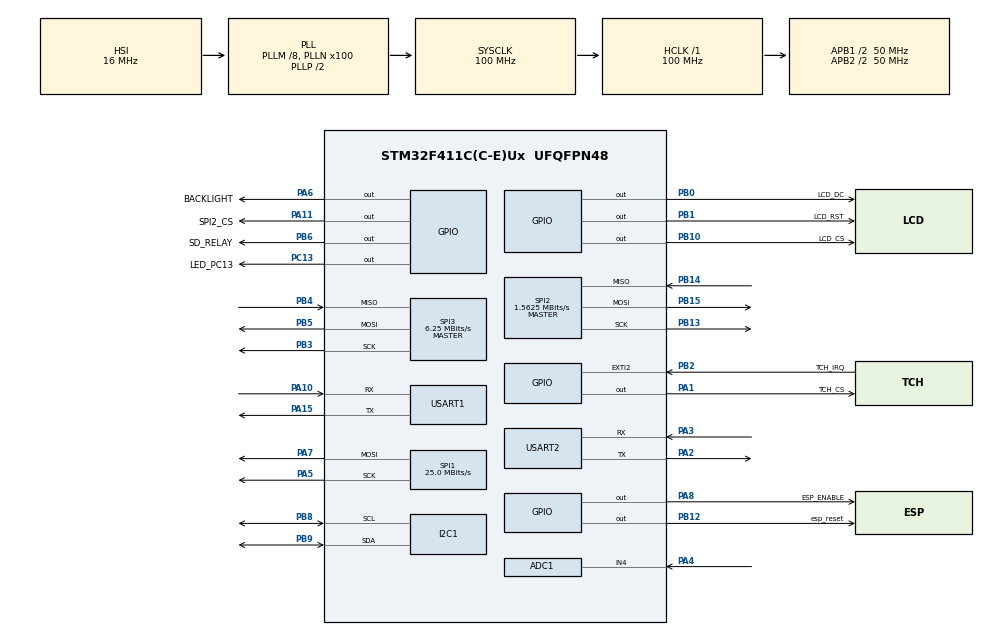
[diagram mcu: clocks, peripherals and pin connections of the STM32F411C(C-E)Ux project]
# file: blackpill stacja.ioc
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ADC1.Channel-3\#ChannelRegularConversion=ADC_CHANNEL_4
ADC1.ClockPrescaler=ADC_CLOCK_SYNC_PCLK_DIV2
ADC1.InjNumberOfConversion=0
ADC1.NbrOfConversion=1
ADC1.NbrOfConversionFlag=1
ADC1.Rank-3\#ChannelRegularConversion=1
ADC1.Resolution=ADC_RESOLUTION_12B
ADC1.SamplingTime-3\#ChannelRegularConversion=ADC_SAMPLETIME_15CYCLES
ADC1.ScanConvMode=DISABLE
ADC1.master=1
Dma.I2C1_RX.4.Direction=DMA_PERIPH_TO_MEMORY
Dma.I2C1_RX.4.FIFOMode=DMA_FIFOMODE_DISABLE
Dma.I2C1_RX.4.Instance=DMA1_Stream0
Dma.I2C1_RX.4.MemDataAlignment=DMA_MDATAALIGN_BYTE
Dma.I2C1_RX.4.MemInc=DMA_MINC_ENABLE
Dma.I2C1_RX.4.Mode=DMA_NORMAL
Dma.I2C1_RX.4.PeriphDataAlignment=DMA_PDATAALIGN_BYTE
Dma.I2C1_RX.4.PeriphInc=DMA_PINC_DISABLE
Dma.I2C1_RX.4.Priority=DMA_PRIORITY_HIGH
Dma.I2C1_TX.5.Direction=DMA_MEMORY_TO_PERIPH
Dma.I2C1_TX.5.FIFOMode=DMA_FIFOMODE_DISABLE
Dma.I2C1_TX.5.Instance=DMA1_Stream1
Dma.I2C1_TX.5.MemDataAlignment=DMA_MDATAALIGN_BYTE
Dma.I2C1_TX.5.MemInc=DMA_MINC_ENABLE
Dma.I2C1_TX.5.Mode=DMA_NORMAL
Dma.I2C1_TX.5.PeriphDataAlignment=DMA_PDATAALIGN_BYTE
Dma.I2C1_TX.5.PeriphInc=DMA_PINC_DISABLE
Dma.I2C1_TX.5.Priority=DMA_PRIORITY_HIGH
Dma.Request0=USART2_TX
Dma.Request1=USART1_RX
Dma.Request2=USART1_TX
Dma.Request3=SPI1_TX
Dma.Request4=I2C1_RX
Dma.Request5=I2C1_TX
Dma.SPI1_TX.3.Direction=DMA_MEMORY_TO_PERIPH
Dma.SPI1_TX.3.FIFOMode=DMA_FIFOMODE_DISABLE
Dma.SPI1_TX.3.Instance=DMA2_Stream3
Dma.SPI1_TX.3.MemDataAlignment=DMA_MDATAALIGN_BYTE
Dma.SPI1_TX.3.MemInc=DMA_MINC_ENABLE
Dma.SPI1_TX.3.Mode=DMA_NORMAL
Dma.SPI1_TX.3.PeriphDataAlignment=DMA_PDATAALIGN_BYTE
Dma.SPI1_TX.3.PeriphInc=DMA_PINC_DISABLE
Dma.SPI1_TX.3.Priority=DMA_PRIORITY_MEDIUM
Dma.USART1_RX.1.Direction=DMA_PERIPH_TO_MEMORY
Dma.USART1_RX.1.FIFOMode=DMA_FIFOMODE_DISABLE
Dma.USART1_RX.1.Instance=DMA2_Stream2
Dma.USART1_RX.1.MemDataAlignment=DMA_MDATAALIGN_BYTE
Dma.USART1_RX.1.MemInc=DMA_MINC_ENABLE
Dma.USART1_RX.1.Mode=DMA_CIRCULAR
Dma.USART1_RX.1.PeriphDataAlignment=DMA_PDATAALIGN_BYTE
Dma.USART1_RX.1.PeriphInc=DMA_PINC_DISABLE
Dma.USART1_RX.1.Priority=DMA_PRIORITY_VERY_HIGH
Dma.USART1_TX.2.Direction=DMA_MEMORY_TO_PERIPH
Dma.USART1_TX.2.FIFOMode=DMA_FIFOMODE_DISABLE
Dma.USART1_TX.2.Instance=DMA2_Stream7
Dma.USART1_TX.2.MemDataAlignment=DMA_MDATAALIGN_BYTE
Dma.USART1_TX.2.MemInc=DMA_MINC_ENABLE
Dma.USART1_TX.2.Mode=DMA_NORMAL
Dma.USART1_TX.2.PeriphDataAlignment=DMA_PDATAALIGN_BYTE
Dma.USART1_TX.2.PeriphInc=DMA_PINC_DISABLE
Dma.USART1_TX.2.Priority=DMA_PRIORITY_HIGH
Dma.USART2_TX.0.Direction=DMA_MEMORY_TO_PERIPH
Dma.USART2_TX.0.FIFOMode=DMA_FIFOMODE_DISABLE
Dma.USART2_TX.0.Instance=DMA1_Stream6
Dma.USART2_TX.0.MemDataAlignment=DMA_MDATAALIGN_BYTE
Dma.USART2_TX.0.MemInc=DMA_MINC_ENABLE
Dma.USART2_TX.0.Mode=DMA_NORMAL
Dma.USART2_TX.0.PeriphDataAlignment=DMA_PDATAALIGN_BYTE
Dma.USART2_TX.0.PeriphInc=DMA_PINC_DISABLE
Dma.USART2_TX.0.Priority=DMA_PRIORITY_LOW
FATFS._MAX_SS=4096
FATFS._USE_LFN=1
Mcu.Family=STM32F4
Mcu.Name=STM32F411C(C-E)Ux
Mcu.Package=UFQFPN48
NVIC.DMA1_Stream0_IRQn=true\:0\:0\:false\:false\:true\:false\:true\:true
NVIC.DMA1_Stream1_IRQn=true\:0\:0\:false\:false\:true\:false\:true\:true
NVIC.DMA1_Stream6_IRQn=true\:0\:0\:false\:false\:true\:false\:true\:true
NVIC.DMA2_Stream2_IRQn=true\:0\:0\:false\:false\:true\:false\:true\:true
NVIC.DMA2_Stream3_IRQn=true\:0\:0\:false\:false\:true\:false\:true\:true
NVIC.DMA2_Stream7_IRQn=true\:0\:0\:false\:false\:true\:false\:true\:true
NVIC.EXTI2_IRQn=true\:0\:0\:false\:false\:true\:true\:true\:true
NVIC.I2C1_ER_IRQn=true\:0\:0\:false\:false\:true\:true\:true\:true
NVIC.I2C1_EV_IRQn=true\:0\:0\:false\:false\:true\:true\:true\:true
NVIC.PriorityGroup=NVIC_PRIORITYGROUP_2
NVIC.RTC_Alarm_IRQn=true\:0\:0\:false\:false\:true\:true\:true\:true
NVIC.TIM1_BRK_TIM9_IRQn=true\:0\:0\:false\:false\:true\:true\:true\:true
NVIC.TIM1_TRG_COM_TIM11_IRQn=true\:0\:0\:false\:false\:true\:true\:true\:true
NVIC.TIM1_UP_TIM10_IRQn=true\:0\:0\:false\:false\:true\:true\:true\:true
NVIC.TIM5_IRQn=true\:0\:0\:false\:false\:true\:true\:true\:true
NVIC.USART1_IRQn=true\:0\:0\:false\:false\:true\:true\:true\:true
NVIC.USART2_IRQn=true\:0\:0\:false\:false\:true\:true\:true\:true
PA0-WKUP.Mode=SYS_WakeUp0
PA0-WKUP.Signal=SYS_WKUP
PA1.GPIO_Label=TCH_CS
PA1.Signal=GPIO_Output
PA10.Mode=Asynchronous
PA10.Signal=USART1_RX
PA11.GPIO_Label=SPI2_CS
PA11.GPIO_PuPd=GPIO_NOPULL
PA11.Signal=GPIO_Output
PA15.Mode=Asynchronous
PA15.Signal=USART1_TX
PA2.Mode=Asynchronous
PA2.Signal=USART2_TX
PA3.Mode=Asynchronous
PA3.Signal=USART2_RX
PA4.Signal=ADCx_IN4
PA5.Mode=TX_Only_Simplex_Unidirect_Master
PA5.Signal=SPI1_SCK
PA6.GPIO_Label=BACKLIGHT
PA6.Signal=GPIO_Output
PA7.Mode=TX_Only_Simplex_Unidirect_Master
PA7.Signal=SPI1_MOSI
PA8.GPIO_Label=ESP_ENABLE
PA8.GPIO_PuPd=GPIO_PULLDOWN
PA8.PinState=GPIO_PIN_RESET
PA8.Signal=GPIO_Output
PB0.GPIO_Label=LCD_DC
PB0.Signal=GPIO_Output
PB1.GPIO_Label=LCD_RST
PB1.Signal=GPIO_Output
PB10.GPIO_Label=LCD_CS
PB10.Signal=GPIO_Output
PB12.GPIO_Label=esp_reset
PB12.GPIO_PuPd=GPIO_PULLDOWN
PB12.PinState=GPIO_PIN_RESET
PB12.Signal=GPIO_Output
PB13.Mode=Full_Duplex_Master
PB13.Signal=SPI2_SCK
PB14.Mode=Full_Duplex_Master
PB14.Signal=SPI2_MISO
PB15.Mode=Full_Duplex_Master
PB15.Signal=SPI2_MOSI
PB2.GPIO_Label=TCH_IRQ
PB2.GPIO_ModeDefaultEXTI=GPIO_MODE_IT_FALLING
PB2.GPIO_PuPd=GPIO_PULLUP
PB2.Signal=GPXTI2
PB3.Mode=Full_Duplex_Master
PB3.Signal=SPI3_SCK
PB4.Mode=Full_Duplex_Master
PB4.Signal=SPI3_MISO
PB5.Mode=Full_Duplex_Master
PB5.Signal=SPI3_MOSI
PB6.GPIO_Label=SD_RELAY
PB6.Signal=GPIO_Output
PB8.Mode=I2C
PB8.Signal=I2C1_SCL
PB9.Mode=I2C
PB9.Signal=I2C1_SDA
PC13-ANTI_TAMP.GPIO_Label=LED_PC13
PC13-ANTI_TAMP.Signal=GPIO_Output
PC14-OSC32_IN.Mode=LSE-External-Oscillator
PC14-OSC32_IN.Signal=RCC_OSC32_IN
PC15-OSC32_OUT.Mode=LSE-External-Oscillator
PC15-OSC32_OUT.Signal=RCC_OSC32_OUT
ProjectManager.HeapSize=0x400
ProjectManager.StackSize=0x800
ProjectManager.TargetToolchain=STM32CubeIDE
RCC.48MHZClocksFreq_Value=50000000
RCC.AHBFreq_Value=100000000
RCC.APB1CLKDivider=RCC_HCLK_DIV2
RCC.APB1Freq_Value=50000000
RCC.APB1TimFreq_Value=100000000
RCC.APB2CLKDivider=RCC_HCLK_DIV2
RCC.APB2Freq_Value=50000000
RCC.APB2TimFreq_Value=100000000
RCC.CortexFreq_Value=100000000
RCC.HCLKFreq_Value=100000000
RCC.HSE_VALUE=25000000
RCC.HSI_VALUE=16000000
RCC.PLLM=8
RCC.PLLN=100
RCC.RCC_RTC_Clock_SourceVirtual=RCC_RTCCLKSOURCE_LSE
RCC.SYSCLKFreq_VALUE=100000000
RCC.SYSCLKSource=RCC_SYSCLKSOURCE_PLLCLK
RCC.VCOOutputFreq_Value=200000000
RTC.Alarm=RTC_ALARM_A
SH.ADCx_IN4.0=ADC1_IN4,IN4
SPI1.BaudRatePrescaler=SPI_BAUDRATEPRESCALER_2
SPI1.CalculateBaudRate=25.0 MBits/s
SPI1.Direction=SPI_DIRECTION_2LINES
SPI1.Mode=SPI_MODE_MASTER
SPI1.VirtualType=VM_MASTER
SPI2.BaudRatePrescaler=SPI_BAUDRATEPRESCALER_32
SPI2.CalculateBaudRate=1.5625 MBits/s
SPI2.Direction=SPI_DIRECTION_2LINES
SPI2.Mode=SPI_MODE_MASTER
SPI2.VirtualType=VM_MASTER
SPI3.BaudRatePrescaler=SPI_BAUDRATEPRESCALER_8
SPI3.CalculateBaudRate=6.25 MBits/s
SPI3.Direction=SPI_DIRECTION_2LINES
SPI3.Mode=SPI_MODE_MASTER
SPI3.VirtualType=VM_MASTER
TIM1.Period=60000
TIM1.Prescaler=49999
TIM10.Period=8000
TIM10.Prescaler=49999
TIM11.Period=30000
TIM11.Prescaler=49999
TIM3.Prescaler=99
TIM4.Prescaler=49999
TIM5.Period=10000
TIM5.Prescaler=49999
TIM9.Period=20000
TIM9.Prescaler=4999
USART1.VirtualMode=VM_ASYNC
USART2.VirtualMode=VM_ASYNC
VP_FATFS_VS_Generic.Mode=User_defined
VP_RTC_VS_RTC_Activate.Mode=RTC_Enabled
VP_RTC_VS_RTC_Alarm_A_Intern.Mode=Alarm A
VP_RTC_VS_RTC_Calendar.Mode=RTC_Calendar
VP_TIM10_VS_ClockSourceINT.Mode=Enable_Timer
VP_TIM11_VS_ClockSourceINT.Mode=Enable_Timer
VP_TIM1_VS_ClockSourceINT.Mode=Internal
VP_TIM3_VS_ClockSourceINT.Mode=Internal
VP_TIM4_VS_ClockSourceINT.Mode=Internal
VP_TIM5_VS_ClockSourceINT.Mode=Internal
VP_TIM9_VS_ClockSourceINT.Mode=Internal
board=custom

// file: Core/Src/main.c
/* USER CODE BEGIN Header */
/**
  ******************************************************************************
  * @file           : main.c
  * @brief          : Main program body
  ******************************************************************************
  * @attention
  *
  * Copyright (c) 2023 STMicroelectronics.
  * All rights reserved.
  *
  * This software is licensed under terms that can be found in the LICENSE file
  * in the root directory of this software component.
  * If no LICENSE file comes with this software, it is provided AS-IS.
  *
  *****************************************************************************
  */
/* USER CODE END Header */
#include "main.h"
#include "fatfs.h"

/* USER CODE BEGIN Includes */
#include <ui.h>
#include "fr_lcd.h"
#include "../../lvgl/lvgl.h"
#include "../../lvgl/examples/lv_examples.h"
#include "stdio.h"
#include "stdint.h"
#include "fr_touch.h"
#include "fr_lv_drv_touch.h"
#include "fr_dht22.h"
#include "fr_lcd_lvgl_touch.h"
#include "fr_sd_handle.h"
#include <stdlib.h>
#include <ctype.h>
#include <fr_battery.h>
#include <fr_eeprom.h>
#include <fr_ESP8266.h>
#include <fr_ESP8266_messages.h>
#include <fatfs_sd.h>
#include "fr_scd40.h"
#include "fr_stm32.h"
/* USER CODE END Includes */

ADC_HandleTypeDef hadc1;

I2C_HandleTypeDef hi2c1;
DMA_HandleTypeDef hdma_i2c1_rx;
DMA_HandleTypeDef hdma_i2c1_tx;

RTC_HandleTypeDef hrtc;

SPI_HandleTypeDef hspi1;
SPI_HandleTypeDef hspi2;
SPI_HandleTypeDef hspi3;
DMA_HandleTypeDef hdma_spi1_tx;

TIM_HandleTypeDef htim1;
TIM_HandleTypeDef htim3;
TIM_HandleTypeDef htim4;
TIM_HandleTypeDef htim5;
TIM_HandleTypeDef htim9;
TIM_HandleTypeDef htim10;
TIM_HandleTypeDef htim11;

UART_HandleTypeDef huart1;
UART_HandleTypeDef huart2;
DMA_HandleTypeDef hdma_usart1_rx;
DMA_HandleTypeDef hdma_usart1_tx;
DMA_HandleTypeDef hdma_usart2_tx;

void SystemClock_Config(void);
static void MX_GPIO_Init(void);
static void MX_DMA_Init(void);
static void MX_ADC1_Init(void);
static void MX_I2C1_Init(void);
static void MX_RTC_Init(void);
static void MX_SPI1_Init(void);
static void MX_SPI3_Init(void);
static void MX_TIM1_Init(void);
static void MX_TIM3_Init(void);
static void MX_TIM4_Init(void);
static void MX_TIM5_Init(void);
static void MX_TIM9_Init(void);
static void MX_TIM10_Init(void);
static void MX_TIM11_Init(void);
static void MX_USART1_UART_Init(void);
static void MX_USART2_UART_Init(void);
static void MX_SPI2_Init(void);

int main(void)
{

  /* MCU Configuration--------------------------------------------------------*/

  /* Reset of all peripherals, Initializes the Flash interface and the Systick. */
  HAL_Init();

  /* Configure the system clock */
  SystemClock_Config();

  /* Initialize all configured peripherals */
  MX_GPIO_Init();
  MX_DMA_Init();
  MX_ADC1_Init();
  MX_I2C1_Init();
  MX_RTC_Init();
  MX_SPI1_Init();
  MX_SPI3_Init();
  MX_TIM1_Init();
  MX_TIM3_Init();
  MX_TIM4_Init();
  MX_TIM5_Init();
  MX_TIM9_Init();
  MX_TIM10_Init();
  MX_TIM11_Init();
  MX_USART1_UART_Init();
  MX_USART2_UART_Init();
  MX_FATFS_Init();
  MX_SPI2_Init();
  /* USER CODE BEGIN 2 */

  // ask for sensor data and wait for interrupt

  SCD40_writecommand();
  /* turn on led indication for work status */
  HAL_GPIO_WritePin(LED_PC13_GPIO_Port, LED_PC13_Pin, GPIO_PIN_RESET);

  /* turn on power for SD card reader*/
  HAL_GPIO_WritePin(SD_RELAY_GPIO_Port, SD_RELAY_Pin, GPIO_PIN_SET);

  /* check what waked up device */

  if ((backlight)&&(init_lv==0)){
	/* in case wake up from touch screen initialize lvgl,
	 * display and turn on lvgl driver */
	HAL_GPIO_WritePin(TCH_CS_GPIO_Port, TCH_CS_Pin, GPIO_PIN_SET);
	init_lvgl();
	lv_task_handler();
	touch_handle(&hspi3);

	/* enable tim1 timer for screen backlight turn off delay if wakedup from alarm */
	__HAL_TIM_CLEAR_FLAG(&htim1, TIM_SR_UIF);
	HAL_TIM_Base_Start_IT(&htim1);

  }

  /* in case wakeup by sensor timer initialize lvgl, and display */
  else{
	init_lvgl();
  }

  if(!PomiarFlag){

	/* tim4 timer ESP messages delay */
	HAL_TIM_Base_Start(&htim4);

	/* reset esp8266 module by output pin */
	esp_server_init();

	/* start receiving data from esp8266 by USART1 circular DMA with line
	 * switch to idle interrupt, disable half transfer interrupt */
	__HAL_DMA_DISABLE_IT(&hdma_usart1_rx, DMA_IT_HT);
	HAL_UARTEx_ReceiveToIdle_DMA(&huart1, (uint8_t *) RxBuf, RxBuf_SIZE);

  }

  /* tim1 timer screen backlight */
  /* tim3 timer for us delay */

  /* tim9 timer for textbox color change */
  /* tim10 timer for msg delay */        ///do usunięcia
  /* tim11 timer for loading screen delay */

  //HAL_TIM_Base_Start(&htim3); //timer in case DHT22 usage;

  /* enable debugging in standby mode */
  HAL_DBGMCU_EnableDBGStandbyMode();

  /* initialize measurement structures */
  measure_init();

  /* USER CODE END 2 */

  /* Infinite loop */
  /* USER CODE BEGIN WHILE */
  while (1)
  {
	/* ESP8266 communication handle */
	if(PomiarFlag==0){
		switch(tryb_wifi){
		case HOTSPOT:
			load_hotspot();
		break;
		case ROUTER_MODE:
			load_msg();
		break;
		case RESET_TO_WIFI_CHANGE:
			wifi_reset();
		break;
		case WIFI_CHANGE:
			change_wifi();
		break;
		case RESET_MODE_TO_HOTSPOT:
			wifi_reset();
		break;
		case RESET_MODE_TO_ROUTER:
			wifi_reset();
		break;
		}
		send_msg();
	}

	/* check if circural buffor is not full and transfer data from to USART2 */
	if((USART2->SR & USART_SR_TC) && (ogon!=glowa)&&(ogon<1000)){
	  transfer_bufor();
	}

	/* update clock and calendar data for ui */
	get_time();

	/* update time left to sensor measure*/
	get_alarm();

	/* update ui data */
	if(init_lv){
		if(!wifi_set){
			update_ui_data();
			lv_task_handler();
			touch_handle(&hspi3);
		}
		/* in wi-fi change mode for loading screen and freeze UI */
		else{
			sprintf(wifi_change_bar_label, "%3d\%", wifi_change_bar);
		    lv_bar_set_value(ui_Bar11, wifi_change_bar, LV_ANIM_OFF);
		    lv_label_set_text(ui_Label62, wifi_change_bar_label);
			lv_task_handler();
			touch_handle(&hspi3);
		}
	}

	/* check condition and turn on stanby mode */
	if((backlight==0)&&(PomiarFlag==1)){
		if(check_alarm()){
			sleep(120);
		}
	}

	/* in case wifi change, stop communication with sensor and check for available WLAN networks */
	if((wifi_list_send==1)&&(PomiarFlag==1)){
		wifi_list_send=0;
		esp_server_init();
		__HAL_DMA_DISABLE_IT(&hdma_usart1_rx, DMA_IT_HT);
		HAL_UARTEx_ReceiveToIdle_DMA(&huart1, (uint8_t*) RxBuf, RxBuf_SIZE);
		HAL_UART_Transmit_DMA(&huart1, (uint8_t*) "AT+CWLAP\r\n",strlen("AT+CWLAP\r\n"));
	}

	/* turn on communication with ESP caused by sensor measure alarm */
	if(AlarmFlag){
		esp_server_init();
		HAL_TIM_Base_Start(&htim4); //timer for ESP communication messages delays
		AlarmFlag=0;
		PomiarFlag=0;
		__HAL_DMA_DISABLE_IT(&hdma_usart1_rx, DMA_IT_HT);
		HAL_UARTEx_ReceiveToIdle_DMA(&huart1, (uint8_t*) RxBuf, RxBuf_SIZE);
	}

	/* in case wi-fi search change for loading screen for certain time */
	if(screen_change==1){
		_ui_screen_change(ui_Screen3, LV_SCR_LOAD_ANIM_FADE_ON, 0, 0);
		screen_change=3;
	}
	else if(screen_change==2){
		_ui_screen_change(ui_Screen6, LV_SCR_LOAD_ANIM_FADE_ON, 0, 0);
		screen_change=3;
	}

    /* USER CODE END WHILE */

  }
}

void SystemClock_Config(void)
{
  RCC_OscInitTypeDef RCC_OscInitStruct = {0};
  RCC_ClkInitTypeDef RCC_ClkInitStruct = {0};

  /** Configure the main internal regulator output voltage
  */
  __HAL_RCC_PWR_CLK_ENABLE();
  __HAL_PWR_VOLTAGESCALING_CONFIG(PWR_REGULATOR_VOLTAGE_SCALE1);

  /** Initializes the RCC Oscillators according to the specified parameters
  * in the RCC_OscInitTypeDef structure.
  */
  RCC_OscInitStruct.OscillatorType = RCC_OSCILLATORTYPE_HSI|RCC_OSCILLATORTYPE_LSE;
  RCC_OscInitStruct.LSEState = RCC_LSE_ON;
  RCC_OscInitStruct.HSIState = RCC_HSI_ON;
  RCC_OscInitStruct.HSICalibrationValue = RCC_HSICALIBRATION_DEFAULT;
  RCC_OscInitStruct.PLL.PLLState = RCC_PLL_ON;
  RCC_OscInitStruct.PLL.PLLSource = RCC_PLLSOURCE_HSI;
  RCC_OscInitStruct.PLL.PLLM = 8;
  RCC_OscInitStruct.PLL.PLLN = 100;
  RCC_OscInitStruct.PLL.PLLP = RCC_PLLP_DIV2;
  RCC_OscInitStruct.PLL.PLLQ = 4;
  if (HAL_RCC_OscConfig(&RCC_OscInitStruct) != HAL_OK)
  {
    Error_Handler();
  }

  /** Initializes the CPU, AHB and APB buses clocks
  */
  RCC_ClkInitStruct.ClockType = RCC_CLOCKTYPE_HCLK|RCC_CLOCKTYPE_SYSCLK
                              |RCC_CLOCKTYPE_PCLK1|RCC_CLOCKTYPE_PCLK2;
  RCC_ClkInitStruct.SYSCLKSource = RCC_SYSCLKSOURCE_PLLCLK;
  RCC_ClkInitStruct.AHBCLKDivider = RCC_SYSCLK_DIV1;
  RCC_ClkInitStruct.APB1CLKDivider = RCC_HCLK_DIV2;
  RCC_ClkInitStruct.APB2CLKDivider = RCC_HCLK_DIV2;

  if (HAL_RCC_ClockConfig(&RCC_ClkInitStruct, FLASH_LATENCY_3) != HAL_OK)
  {
    Error_Handler();
  }
}

static void MX_ADC1_Init(void)
{

  ADC_ChannelConfTypeDef sConfig = {0};

  /** Configure the global features of the ADC (Clock, Resolution, Data Alignment and number of conversion)
  */
  hadc1.Instance = ADC1;
  hadc1.Init.ClockPrescaler = ADC_CLOCK_SYNC_PCLK_DIV2;
  hadc1.Init.Resolution = ADC_RESOLUTION_12B;
  hadc1.Init.ScanConvMode = DISABLE;
  hadc1.Init.ContinuousConvMode = DISABLE;
  hadc1.Init.DiscontinuousConvMode = DISABLE;
  hadc1.Init.ExternalTrigConvEdge = ADC_EXTERNALTRIGCONVEDGE_NONE;
  hadc1.Init.ExternalTrigConv = ADC_SOFTWARE_START;
  hadc1.Init.DataAlign = ADC_DATAALIGN_RIGHT;
  hadc1.Init.NbrOfConversion = 1;
  hadc1.Init.DMAContinuousRequests = DISABLE;
  hadc1.Init.EOCSelection = ADC_EOC_SINGLE_CONV;
  if (HAL_ADC_Init(&hadc1) != HAL_OK)
  {
    Error_Handler();
  }

  /** Configure for the selected ADC regular channel its corresponding rank in the sequencer and its sample time.
  */
  sConfig.Channel = ADC_CHANNEL_4;
  sConfig.Rank = 1;
  sConfig.SamplingTime = ADC_SAMPLETIME_15CYCLES;
  if (HAL_ADC_ConfigChannel(&hadc1, &sConfig) != HAL_OK)
  {
    Error_Handler();
  }

}

static void MX_I2C1_Init(void)
{

  hi2c1.Instance = I2C1;
  hi2c1.Init.ClockSpeed = 100000;
  hi2c1.Init.DutyCycle = I2C_DUTYCYCLE_2;
  hi2c1.Init.OwnAddress1 = 0;
  hi2c1.Init.AddressingMode = I2C_ADDRESSINGMODE_7BIT;
  hi2c1.Init.DualAddressMode = I2C_DUALADDRESS_DISABLE;
  hi2c1.Init.OwnAddress2 = 0;
  hi2c1.Init.GeneralCallMode = I2C_GENERALCALL_DISABLE;
  hi2c1.Init.NoStretchMode = I2C_NOSTRETCH_DISABLE;
  if (HAL_I2C_Init(&hi2c1) != HAL_OK)
  {
    Error_Handler();
  }

}

static void MX_RTC_Init(void)
{

  /* USER CODE BEGIN RTC_Init 0 */
	//__HAL_RCC_PWR_CLK_ENABLE();
  /* USER CODE END RTC_Init 0 */

  RTC_TimeTypeDef sTime = {0};
  RTC_DateTypeDef sDate = {0};
  RTC_AlarmTypeDef sAlarm = {0};

  /** Initialize RTC Only
  */
  hrtc.Instance = RTC;
  hrtc.Init.HourFormat = RTC_HOURFORMAT_24;
  hrtc.Init.AsynchPrediv = 127;
  hrtc.Init.SynchPrediv = 255;
  hrtc.Init.OutPut = RTC_OUTPUT_DISABLE;
  hrtc.Init.OutPutPolarity = RTC_OUTPUT_POLARITY_HIGH;
  hrtc.Init.OutPutType = RTC_OUTPUT_TYPE_OPENDRAIN;
  if (HAL_RTC_Init(&hrtc) != HAL_OK)
  {
    Error_Handler();
  }

  /* USER CODE BEGIN Check_RTC_BKUP */
  // Check if device was woken up from Standby
  if(__HAL_PWR_GET_FLAG(PWR_FLAG_SB) != RESET) {
    // Check if wake up was caused by timer
    if(__HAL_RTC_WAKEUPTIMER_GET_FLAG(&hrtc, RTC_FLAG_WUTF)) {
      // Send "WUTF=1" through UART2 if flag is set
      HAL_UART_Transmit(&huart2, (uint8_t*) "WUTF=1\r\n", strlen("WUTF=1\r\n"), 500);
    } else {
      // Send "WUTF=0" through UART2 if flag is not set
      HAL_UART_Transmit(&huart2, (uint8_t*) "WUTF=0\r\n", strlen("WUTF=0\r\n"), 500);
    }

    // Check if wake up flag of the power interface is set
    if(__HAL_PWR_GET_FLAG(PWR_FLAG_WU)) {
      // Send "WUF=1" through UART2 if flag is set
      HAL_UART_Transmit(&huart2, (uint8_t*) "WUF=1\r\n", strlen("WUF=1\r\n"), 500);
    } else {
      // Send "WUF=0" through UART2 if flag is not set
      HAL_UART_Transmit(&huart2, (uint8_t*) "WUF=0\r\n", strlen("WUF=0\r\n"), 500);
    }

    // Check if wake up was caused by alarm
    if(__HAL_RTC_ALARM_GET_FLAG(&hrtc, RTC_FLAG_ALRAF)) {
      // Send "ALRAF=1" through UART2 if flag is set
      HAL_UART_Transmit(&huart2, (uint8_t*) "ALRAF=1\r\n", strlen("ALRAF=1\r\n"), 500);
      /* If wake up was caused by measurement alarm turn
        on measurement flag and don't turn of backlight */
      PomiarFlag = 0;
      backlight = 0;
    } else {
      /* If wake up was not from alarm then it was from touching the screen,
        turn on backlight and don't turn on measurement */
      // Send "ALRAF=0" through UART2
      HAL_UART_Transmit(&huart2, (uint8_t*) "ALRAF=0\r\n", strlen("ALRAF=0\r\n"), 500);
      // Turn on the backlight
      HAL_GPIO_WritePin(BACKLIGHT_GPIO_Port, BACKLIGHT_Pin, 1);
      // Set measurement flag and backlight
      PomiarFlag = 1;
      backlight = 1;
      // Enable alarm interrupt and set related configurations
      __HAL_RTC_WRITEPROTECTION_DISABLE(&hrtc);
      __HAL_RTC_ALARM_EXTI_ENABLE_IT();
      __HAL_RTC_ALARM_EXTI_ENABLE_RISING_EDGE();
      __HAL_RTC_ALARM_ENABLE_IT(&hrtc, RTC_IT_ALRA);
      __HAL_RTC_WRITEPROTECTION_ENABLE(&hrtc);
    }

    // Clear StandBy flag of the power interface
    __HAL_PWR_CLEAR_FLAG(PWR_FLAG_SB);

    // Read from backup data register (RTC_BKP_DR0)
    uint32_t dataco2_dust = HAL_RTCEx_BKUPRead(&hrtc, RTC_BKP_DR0);

    // Split the read data into CO2 and Dust values
    co2_raw = dataco2_dust >> 16;  // upper 16 bits for CO2
    dust = dataco2_dust & 0x7FFF;           // lower 15 bits for dust

    // Convert data to strings
    sprintf(str_CO2, "%4u", co2_raw);
    sprintf(sensor_data_table[Dust_OUT-2].data_label, "%3u", dust);

    // Read data from other registers
    uint32_t dataw = HAL_RTCEx_BKUPRead(&hrtc, RTC_BKP_DR1);
    uint32_t datat = HAL_RTCEx_BKUPRead(&hrtc, RTC_BKP_DR2);
    uint32_t datap = HAL_RTCEx_BKUPRead(&hrtc, RTC_BKP_DR3);
    uint32_t datawt = HAL_RTCEx_BKUPRead(&hrtc, RTC_BKP_DR18);

    // Split datawt into temperature and humidity
    measure_tab[Measure_IN].pomiar[Humi_IN].num = (uint8_t)(datawt >> 24);
    measure_tab[Measure_IN].pomiar[Humi_IN].tenths = (uint8_t)(datawt >> 16);
    measure_tab[Measure_IN].pomiar[Temp_IN].num = (uint8_t)(datawt >> 8);
    measure_tab[Measure_IN].pomiar[Temp_IN].tenths = (uint8_t)(datawt);

    // Read year, battery level and sensor battery level
    uint32_t batlvlrok = HAL_RTCEx_BKUPRead(&hrtc, RTC_BKP_DR19);
    uint32_t rok = batlvlrok & 0xFFFF; // lower 16 bits for year
    bat_lvl_pre = (batlvlrok >> 16) & 0xFF; // next 8 bits for battery level
    bat_lvl_int = bat_lvl_pre;
    sensor_data_table[3].pomiar = (batlvlrok >> 24) & 0xFF; // highest 8 bits for sensor battery level
    // Convert data to strings
    sprintf(bat_lvl_lb, "%3u", bat_lvl_pre);
    sprintf(sensor_data_table[3].data_label, "%3u", sensor_data_table[3].pomiar);
    sprintf(str_temp_in, "%2u.%1u", measure_tab[Measure_IN].pomiar[0].num, measure_tab[Measure_IN].pomiar[0].tenths);
    sprintf(str_hum_in, "%2u.%1u", measure_tab[Measure_IN].pomiar[1].num, measure_tab[Measure_IN].pomiar[1].tenths);

    // Read SSID and password for saved wifi
    read_ssid();

    // Loop to assign data labels for Humidity, Temperature, and Pressure
    for (int i = 0; i < 4; i++) {
        sensor_data_table[Humi_OUT - 3].data_label[i] = (dataw >> (24 - 8 * i)) & 0xFF;
        sensor_data_table[Temp_OUT - 3].data_label[i] = (datat >> (24 - 8 * i)) & 0xFF;
        sensor_data_table[Pres_OUT - 3].data_label[i] = (datap >> (24 - 8 * i)) & 0xFF;
    }
    }

  // If device was turn on, not woken up from StandBy then just on backlight
  else{

	HAL_GPIO_WritePin(BACKLIGHT_GPIO_Port, BACKLIGHT_Pin, 1);

	// read saved work mode and wi-fi credentials
	read_ssid();

	//__HAL_RTC_WRITEPROTECTION_DISABLE(&hrtc);
	//__HAL_RTC_ALARM_DISABLE_IT(&hrtc, RTC_IT_ALRA);
	//__HAL_RTC_WRITEPROTECTION_ENABLE(&hrtc);

	backlight=1;
  }

  return;
  /* USER CODE END Check_RTC_BKUP */

  /** Initialize RTC and set the Time and Date
  */
  sTime.Hours = 0x0;
  sTime.Minutes = 0x0;
  sTime.Seconds = 0x0;
  sTime.DayLightSaving = RTC_DAYLIGHTSAVING_NONE;
  sTime.StoreOperation = RTC_STOREOPERATION_RESET;
  if (HAL_RTC_SetTime(&hrtc, &sTime, RTC_FORMAT_BCD) != HAL_OK)
  {
    Error_Handler();
  }
  sDate.WeekDay = RTC_WEEKDAY_MONDAY;
  sDate.Month = RTC_MONTH_JANUARY;
  sDate.Date = 0x1;
  sDate.Year = 0x0;

  if (HAL_RTC_SetDate(&hrtc, &sDate, RTC_FORMAT_BCD) != HAL_OK)
  {
    Error_Handler();
  }

  /** Enable the Alarm A
  */
  sAlarm.AlarmTime.Hours = 0x0;
  sAlarm.AlarmTime.Minutes = 0x0;
  sAlarm.AlarmTime.Seconds = 0x0;
  sAlarm.AlarmTime.SubSeconds = 0x0;
  sAlarm.AlarmTime.DayLightSaving = RTC_DAYLIGHTSAVING_NONE;
  sAlarm.AlarmTime.StoreOperation = RTC_STOREOPERATION_RESET;
  sAlarm.AlarmMask = RTC_ALARMMASK_NONE;
  sAlarm.AlarmSubSecondMask = RTC_ALARMSUBSECONDMASK_ALL;
  sAlarm.AlarmDateWeekDaySel = RTC_ALARMDATEWEEKDAYSEL_DATE;
  sAlarm.AlarmDateWeekDay = 0x1;
  sAlarm.Alarm = RTC_ALARM_A;
  if (HAL_RTC_SetAlarm_IT(&hrtc, &sAlarm, RTC_FORMAT_BCD) != HAL_OK)
  {
    Error_Handler();
  }

}

static void MX_SPI1_Init(void)
{

  /* SPI1 parameter configuration*/
  hspi1.Instance = SPI1;
  hspi1.Init.Mode = SPI_MODE_MASTER;
  hspi1.Init.Direction = SPI_DIRECTION_2LINES;
  hspi1.Init.DataSize = SPI_DATASIZE_8BIT;
  hspi1.Init.CLKPolarity = SPI_POLARITY_LOW;
  hspi1.Init.CLKPhase = SPI_PHASE_1EDGE;
  hspi1.Init.NSS = SPI_NSS_SOFT;
  hspi1.Init.BaudRatePrescaler = SPI_BAUDRATEPRESCALER_2;
  hspi1.Init.FirstBit = SPI_FIRSTBIT_MSB;
  hspi1.Init.TIMode = SPI_TIMODE_DISABLE;
  hspi1.Init.CRCCalculation = SPI_CRCCALCULATION_DISABLE;
  hspi1.Init.CRCPolynomial = 10;
  if (HAL_SPI_Init(&hspi1) != HAL_OK)
  {
    Error_Handler();
  }

}

static void MX_SPI2_Init(void)
{

  /* SPI2 parameter configuration*/
  hspi2.Instance = SPI2;
  hspi2.Init.Mode = SPI_MODE_MASTER;
  hspi2.Init.Direction = SPI_DIRECTION_2LINES;
  hspi2.Init.DataSize = SPI_DATASIZE_8BIT;
  hspi2.Init.CLKPolarity = SPI_POLARITY_LOW;
  hspi2.Init.CLKPhase = SPI_PHASE_1EDGE;
  hspi2.Init.NSS = SPI_NSS_SOFT;
  hspi2.Init.BaudRatePrescaler = SPI_BAUDRATEPRESCALER_32;
  hspi2.Init.FirstBit = SPI_FIRSTBIT_MSB;
  hspi2.Init.TIMode = SPI_TIMODE_DISABLE;
  hspi2.Init.CRCCalculation = SPI_CRCCALCULATION_DISABLE;
  hspi2.Init.CRCPolynomial = 10;
  if (HAL_SPI_Init(&hspi2) != HAL_OK)
  {
    Error_Handler();
  }

}

static void MX_SPI3_Init(void)
{

  /* SPI3 parameter configuration*/
  hspi3.Instance = SPI3;
  hspi3.Init.Mode = SPI_MODE_MASTER;
  hspi3.Init.Direction = SPI_DIRECTION_2LINES;
  hspi3.Init.DataSize = SPI_DATASIZE_8BIT;
  hspi3.Init.CLKPolarity = SPI_POLARITY_LOW;
  hspi3.Init.CLKPhase = SPI_PHASE_1EDGE;
  hspi3.Init.NSS = SPI_NSS_SOFT;
  hspi3.Init.BaudRatePrescaler = SPI_BAUDRATEPRESCALER_8;
  hspi3.Init.FirstBit = SPI_FIRSTBIT_MSB;
  hspi3.Init.TIMode = SPI_TIMODE_DISABLE;
  hspi3.Init.CRCCalculation = SPI_CRCCALCULATION_DISABLE;
  hspi3.Init.CRCPolynomial = 10;
  if (HAL_SPI_Init(&hspi3) != HAL_OK)
  {
    Error_Handler();
  }

}

static void MX_TIM1_Init(void)
{

  TIM_ClockConfigTypeDef sClockSourceConfig = {0};
  TIM_MasterConfigTypeDef sMasterConfig = {0};

  htim1.Instance = TIM1;
  htim1.Init.Prescaler = 49999;
  htim1.Init.CounterMode = TIM_COUNTERMODE_UP;
  htim1.Init.Period = 60000;
  htim1.Init.ClockDivision = TIM_CLOCKDIVISION_DIV1;
  htim1.Init.RepetitionCounter = 0;
  htim1.Init.AutoReloadPreload = TIM_AUTORELOAD_PRELOAD_DISABLE;
  if (HAL_TIM_Base_Init(&htim1) != HAL_OK)
  {
    Error_Handler();
  }
  sClockSourceConfig.ClockSource = TIM_CLOCKSOURCE_INTERNAL;
  if (HAL_TIM_ConfigClockSource(&htim1, &sClockSourceConfig) != HAL_OK)
  {
    Error_Handler();
  }
  sMasterConfig.MasterOutputTrigger = TIM_TRGO_RESET;
  sMasterConfig.MasterSlaveMode = TIM_MASTERSLAVEMODE_DISABLE;
  if (HAL_TIMEx_MasterConfigSynchronization(&htim1, &sMasterConfig) != HAL_OK)
  {
    Error_Handler();
  }

}

static void MX_TIM3_Init(void)
{

  TIM_ClockConfigTypeDef sClockSourceConfig = {0};
  TIM_MasterConfigTypeDef sMasterConfig = {0};

  htim3.Instance = TIM3;
  htim3.Init.Prescaler = 99;
  htim3.Init.CounterMode = TIM_COUNTERMODE_UP;
  htim3.Init.Period = 65535;
  htim3.Init.ClockDivision = TIM_CLOCKDIVISION_DIV1;
  htim3.Init.AutoReloadPreload = TIM_AUTORELOAD_PRELOAD_DISABLE;
  if (HAL_TIM_Base_Init(&htim3) != HAL_OK)
  {
    Error_Handler();
  }
  sClockSourceConfig.ClockSource = TIM_CLOCKSOURCE_INTERNAL;
  if (HAL_TIM_ConfigClockSource(&htim3, &sClockSourceConfig) != HAL_OK)
  {
    Error_Handler();
  }
  sMasterConfig.MasterOutputTrigger = TIM_TRGO_RESET;
  sMasterConfig.MasterSlaveMode = TIM_MASTERSLAVEMODE_DISABLE;
  if (HAL_TIMEx_MasterConfigSynchronization(&htim3, &sMasterConfig) != HAL_OK)
  {
    Error_Handler();
  }

}

static void MX_TIM4_Init(void)
{

  TIM_ClockConfigTypeDef sClockSourceConfig = {0};
  TIM_MasterConfigTypeDef sMasterConfig = {0};

  htim4.Instance = TIM4;
  htim4.Init.Prescaler = 49999;
  htim4.Init.CounterMode = TIM_COUNTERMODE_UP;
  htim4.Init.Period = 65535;
  htim4.Init.ClockDivision = TIM_CLOCKDIVISION_DIV1;
  htim4.Init.AutoReloadPreload = TIM_AUTORELOAD_PRELOAD_DISABLE;
  if (HAL_TIM_Base_Init(&htim4) != HAL_OK)
  {
    Error_Handler();
  }
  sClockSourceConfig.ClockSource = TIM_CLOCKSOURCE_INTERNAL;
  if (HAL_TIM_ConfigClockSource(&htim4, &sClockSourceConfig) != HAL_OK)
  {
    Error_Handler();
  }
  sMasterConfig.MasterOutputTrigger = TIM_TRGO_RESET;
  sMasterConfig.MasterSlaveMode = TIM_MASTERSLAVEMODE_DISABLE;
  if (HAL_TIMEx_MasterConfigSynchronization(&htim4, &sMasterConfig) != HAL_OK)
  {
    Error_Handler();
  }

}

static void MX_TIM5_Init(void)
{

  TIM_ClockConfigTypeDef sClockSourceConfig = {0};
  TIM_MasterConfigTypeDef sMasterConfig = {0};

  htim5.Instance = TIM5;
  htim5.Init.Prescaler = 49999;
  htim5.Init.CounterMode = TIM_COUNTERMODE_UP;
  htim5.Init.Period = 10000;
  htim5.Init.ClockDivision = TIM_CLOCKDIVISION_DIV1;
  htim5.Init.AutoReloadPreload = TIM_AUTORELOAD_PRELOAD_DISABLE;
  if (HAL_TIM_Base_Init(&htim5) != HAL_OK)
  {
    Error_Handler();
  }
  sClockSourceConfig.ClockSource = TIM_CLOCKSOURCE_INTERNAL;
  if (HAL_TIM_ConfigClockSource(&htim5, &sClockSourceConfig) != HAL_OK)
  {
    Error_Handler();
  }
  sMasterConfig.MasterOutputTrigger = TIM_TRGO_RESET;
  sMasterConfig.MasterSlaveMode = TIM_MASTERSLAVEMODE_DISABLE;
  if (HAL_TIMEx_MasterConfigSynchronization(&htim5, &sMasterConfig) != HAL_OK)
  {
    Error_Handler();
  }

}

static void MX_TIM9_Init(void)
{

  TIM_ClockConfigTypeDef sClockSourceConfig = {0};

  htim9.Instance = TIM9;
  htim9.Init.Prescaler = 4999;
  htim9.Init.CounterMode = TIM_COUNTERMODE_UP;
  htim9.Init.Period = 20000;
  htim9.Init.ClockDivision = TIM_CLOCKDIVISION_DIV1;
  htim9.Init.AutoReloadPreload = TIM_AUTORELOAD_PRELOAD_DISABLE;
  if (HAL_TIM_Base_Init(&htim9) != HAL_OK)
  {
    Error_Handler();
  }
  sClockSourceConfig.ClockSource = TIM_CLOCKSOURCE_INTERNAL;
  if (HAL_TIM_ConfigClockSource(&htim9, &sClockSourceConfig) != HAL_OK)
  {
    Error_Handler();
  }

}

static void MX_TIM10_Init(void)
{

  htim10.Instance = TIM10;
  htim10.Init.Prescaler = 49999;
  htim10.Init.CounterMode = TIM_COUNTERMODE_UP;
  htim10.Init.Period = 8000;
  htim10.Init.ClockDivision = TIM_CLOCKDIVISION_DIV1;
  htim10.Init.AutoReloadPreload = TIM_AUTORELOAD_PRELOAD_DISABLE;
  if (HAL_TIM_Base_Init(&htim10) != HAL_OK)
  {
    Error_Handler();
  }

}

static void MX_TIM11_Init(void)
{

  htim11.Instance = TIM11;
  htim11.Init.Prescaler = 49999;
  htim11.Init.CounterMode = TIM_COUNTERMODE_UP;
  htim11.Init.Period = 30000;
  htim11.Init.ClockDivision = TIM_CLOCKDIVISION_DIV1;
  htim11.Init.AutoReloadPreload = TIM_AUTORELOAD_PRELOAD_DISABLE;
  if (HAL_TIM_Base_Init(&htim11) != HAL_OK)
  {
    Error_Handler();
  }

}

static void MX_USART1_UART_Init(void)
{

  huart1.Instance = USART1;
  huart1.Init.BaudRate = 115200;
  huart1.Init.WordLength = UART_WORDLENGTH_8B;
  huart1.Init.StopBits = UART_STOPBITS_1;
  huart1.Init.Parity = UART_PARITY_NONE;
  huart1.Init.Mode = UART_MODE_TX_RX;
  huart1.Init.HwFlowCtl = UART_HWCONTROL_NONE;
  huart1.Init.OverSampling = UART_OVERSAMPLING_16;
  if (HAL_UART_Init(&huart1) != HAL_OK)
  {
    Error_Handler();
  }

}

static void MX_USART2_UART_Init(void)
{

  huart2.Instance = USART2;
  huart2.Init.BaudRate = 115200;
  huart2.Init.WordLength = UART_WORDLENGTH_8B;
  huart2.Init.StopBits = UART_STOPBITS_1;
  huart2.Init.Parity = UART_PARITY_NONE;
  huart2.Init.Mode = UART_MODE_TX_RX;
  huart2.Init.HwFlowCtl = UART_HWCONTROL_NONE;
  huart2.Init.OverSampling = UART_OVERSAMPLING_16;
  if (HAL_UART_Init(&huart2) != HAL_OK)
  {
    Error_Handler();
  }

}

static void MX_DMA_Init(void)
{

  /* DMA controller clock enable */
  __HAL_RCC_DMA1_CLK_ENABLE();
  __HAL_RCC_DMA2_CLK_ENABLE();

  /* DMA interrupt init */
  /* DMA1_Stream0_IRQn interrupt configuration */
  HAL_NVIC_SetPriority(DMA1_Stream0_IRQn, 0, 0);
  HAL_NVIC_EnableIRQ(DMA1_Stream0_IRQn);
  /* DMA1_Stream1_IRQn interrupt configuration */
  HAL_NVIC_SetPriority(DMA1_Stream1_IRQn, 0, 0);
  HAL_NVIC_EnableIRQ(DMA1_Stream1_IRQn);
  /* DMA1_Stream6_IRQn interrupt configuration */
  HAL_NVIC_SetPriority(DMA1_Stream6_IRQn, 0, 0);
  HAL_NVIC_EnableIRQ(DMA1_Stream6_IRQn);
  /* DMA2_Stream2_IRQn interrupt configuration */
  HAL_NVIC_SetPriority(DMA2_Stream2_IRQn, 0, 0);
  HAL_NVIC_EnableIRQ(DMA2_Stream2_IRQn);
  /* DMA2_Stream3_IRQn interrupt configuration */
  HAL_NVIC_SetPriority(DMA2_Stream3_IRQn, 0, 0);
  HAL_NVIC_EnableIRQ(DMA2_Stream3_IRQn);
  /* DMA2_Stream7_IRQn interrupt configuration */
  HAL_NVIC_SetPriority(DMA2_Stream7_IRQn, 0, 0);
  HAL_NVIC_EnableIRQ(DMA2_Stream7_IRQn);

}

static void MX_GPIO_Init(void)
{
  GPIO_InitTypeDef GPIO_InitStruct = {0};

  /* GPIO Ports Clock Enable */
  __HAL_RCC_GPIOC_CLK_ENABLE();
  __HAL_RCC_GPIOA_CLK_ENABLE();
  __HAL_RCC_GPIOB_CLK_ENABLE();

  /*Configure GPIO pin Output Level */
  HAL_GPIO_WritePin(LED_PC13_GPIO_Port, LED_PC13_Pin, GPIO_PIN_RESET);

  /*Configure GPIO pin Output Level */
  HAL_GPIO_WritePin(GPIOA, TCH_CS_Pin|BACKLIGHT_Pin|ESP_ENABLE_Pin|SPI2_CS_Pin, GPIO_PIN_RESET);

  /*Configure GPIO pin Output Level */
  HAL_GPIO_WritePin(GPIOB, LCD_DC_Pin|LCD_RST_Pin|LCD_CS_Pin|esp_reset_Pin
                          |SD_RELAY_Pin, GPIO_PIN_RESET);

  /*Configure GPIO pin : LED_PC13_Pin */
  GPIO_InitStruct.Pin = LED_PC13_Pin;
  GPIO_InitStruct.Mode = GPIO_MODE_OUTPUT_PP;
  GPIO_InitStruct.Pull = GPIO_NOPULL;
  GPIO_InitStruct.Speed = GPIO_SPEED_FREQ_LOW;
  HAL_GPIO_Init(LED_PC13_GPIO_Port, &GPIO_InitStruct);

  /*Configure GPIO pins : TCH_CS_Pin BACKLIGHT_Pin SPI2_CS_Pin */
  GPIO_InitStruct.Pin = TCH_CS_Pin|BACKLIGHT_Pin|SPI2_CS_Pin;
  GPIO_InitStruct.Mode = GPIO_MODE_OUTPUT_PP;
  GPIO_InitStruct.Pull = GPIO_NOPULL;
  GPIO_InitStruct.Speed = GPIO_SPEED_FREQ_LOW;
  HAL_GPIO_Init(GPIOA, &GPIO_InitStruct);

  /*Configure GPIO pins : LCD_DC_Pin LCD_RST_Pin LCD_CS_Pin SD_RELAY_Pin */
  GPIO_InitStruct.Pin = LCD_DC_Pin|LCD_RST_Pin|LCD_CS_Pin|SD_RELAY_Pin;
  GPIO_InitStruct.Mode = GPIO_MODE_OUTPUT_PP;
  GPIO_InitStruct.Pull = GPIO_NOPULL;
  GPIO_InitStruct.Speed = GPIO_SPEED_FREQ_LOW;
  HAL_GPIO_Init(GPIOB, &GPIO_InitStruct);

  /*Configure GPIO pin : TCH_IRQ_Pin */
  GPIO_InitStruct.Pin = TCH_IRQ_Pin;
  GPIO_InitStruct.Mode = GPIO_MODE_IT_FALLING;
  GPIO_InitStruct.Pull = GPIO_PULLUP;
  HAL_GPIO_Init(TCH_IRQ_GPIO_Port, &GPIO_InitStruct);

  /*Configure GPIO pin : esp_reset_Pin */
  GPIO_InitStruct.Pin = esp_reset_Pin;
  GPIO_InitStruct.Mode = GPIO_MODE_OUTPUT_PP;
  GPIO_InitStruct.Pull = GPIO_PULLDOWN;
  GPIO_InitStruct.Speed = GPIO_SPEED_FREQ_LOW;
  HAL_GPIO_Init(esp_reset_GPIO_Port, &GPIO_InitStruct);

  /*Configure GPIO pin : ESP_ENABLE_Pin */
  GPIO_InitStruct.Pin = ESP_ENABLE_Pin;
  GPIO_InitStruct.Mode = GPIO_MODE_OUTPUT_PP;
  GPIO_InitStruct.Pull = GPIO_PULLDOWN;
  GPIO_InitStruct.Speed = GPIO_SPEED_FREQ_LOW;
  HAL_GPIO_Init(ESP_ENABLE_GPIO_Port, &GPIO_InitStruct);

  /* EXTI interrupt init*/
  HAL_NVIC_SetPriority(EXTI2_IRQn, 0, 0);
  HAL_NVIC_EnableIRQ(EXTI2_IRQn);

}

/* USER CODE BEGIN 4 */

/* LCD buffer DMA transfer done */
void HAL_SPI_TxCpltCallback(SPI_HandleTypeDef *hspi)
{
	if (hspi == &hspi1)
	{
		/* notify LVGL driver and disable LCD CS pin*/
		lcd_transfer_done();
	}
}

/* interrupt from display touch irq pin */
void HAL_GPIO_EXTI_Callback(uint16_t GPIO_Pin)
{
	/* if display was turned off enable backlight and varrible for LVGL diver enable in main loop */
	if(GPIO_Pin == TCH_IRQ_Pin){
		if(backlight == 0){

			/* if display was turned off turn on display and touch screen */
			backlight=1;
			HAL_GPIO_WritePin(BACKLIGHT_GPIO_Port, BACKLIGHT_Pin, GPIO_PIN_SET);
			HAL_GPIO_WritePin(TCH_CS_GPIO_Port, TCH_CS_Pin, GPIO_PIN_SET);

			/* start backlight turn off timer again */
			__HAL_TIM_CLEAR_FLAG(&htim1, TIM_SR_UIF);
			__HAL_TIM_SET_COUNTER(&htim1, 0);
			HAL_TIM_Base_Start_IT(&htim1);

		}
		else
		{
			/* if display was touched when turned on reset turn off delay timer */
			touch_irq();
			__HAL_TIM_SET_COUNTER(&htim1, 0);
		}
	}
}

/* if after transfer to external USART2 buffer is full start from the begining */
void HAL_UART_TxCpltCallback(UART_HandleTypeDef *huart){
	if (huart->Instance == USART2)
		{
		if(ogon==1000){
			ogon=0;
		}
		}
}

/* check for USART errors in case of debugging and reset USART1 if error occurred */
void HAL_UART_ErrorCallback(UART_HandleTypeDef *huart){
	if (huart->Instance == USART1)
		{
		__NOP();
		HAL_UART_DMAStop(&huart1);
		__HAL_DMA_DISABLE_IT(&hdma_usart1_rx, DMA_IT_HT);
		HAL_UARTEx_ReceiveToIdle_DMA(&huart1, (uint8_t *) RxBuf, RxBuf_SIZE);
		}
	if (huart->Instance == USART2)
		{
		__NOP();
		}
}

/* handle timers interrupt */
/* tim1 timer screen backlight */
/* tim3 timer for us delay */
/* tim5 timer for */
/* tim9 timer for textbox color change */
/* tim10 timer for msg delay */        ///do usunięcia
/* tim11 timer for loading screen delay */

void HAL_TIM_PeriodElapsedCallback (TIM_HandleTypeDef * htim){

	/* tim1 timer for screen backlight turn screen off if delay with no touch elasped */
	if (htim->Instance == TIM1){
		HAL_TIM_Base_Stop_IT(&htim1);
		if(!wifi_set){
			backlight=0;
			HAL_GPIO_WritePin(BACKLIGHT_GPIO_Port, BACKLIGHT_Pin, 0);
		}
	}

	/* timer for SCD41 communication delay after message sent */
	if (htim->Instance == TIM5){
		HAL_TIM_Base_Stop_IT(htim);
		uint16_t command = 0xec05;
		buf_co2_tr[0] = (uint8_t)(command >> 8);
		buf_co2_tr[1] = (uint8_t)command;
		one_shot_read=1;
		HAL_I2C_Master_Transmit_DMA(I2C_HANDLE, SCD40_ADDRESS, buf_co2_tr, sizeof(buf_co2_tr));
	}

	/* tim9 timer for textbox color change, switch textbox color back to normal*/
	if (htim->Instance == TIM9)
		{
	    if(init_lv){
		color = 0xFFFFFF;
		lv_obj_set_style_bg_color(ui_TextArea1, lv_color_hex(color), LV_PART_MAIN | LV_STATE_DEFAULT);
		lv_obj_set_style_bg_color(ui_TextArea2, lv_color_hex(color), LV_PART_MAIN | LV_STATE_DEFAULT);
		lv_obj_set_style_bg_color(ui_TextArea3, lv_color_hex(color), LV_PART_MAIN | LV_STATE_DEFAULT);
		lv_obj_set_style_bg_color(ui_TextArea4, lv_color_hex(color), LV_PART_MAIN | LV_STATE_DEFAULT);
		lv_obj_set_style_bg_color(ui_TextArea5, lv_color_hex(color), LV_PART_MAIN | LV_STATE_DEFAULT);
		HAL_TIM_Base_Stop_IT(htim);
	    }
		}

	/* timer 10 */
	if (htim->Instance == TIM10){
		HAL_TIM_Base_Stop_IT(htim);
	}

	/* tim11 timer for loading screen delay */
	if (htim->Instance == TIM11){
  	  	char label_print[264]={'\0'};
  	  	sprintf(wifi_list[indy-1], "**SWITCH TO HOTSPOT MODE");
  	  	for (int k = 0; k < indy; k++){
  	 	  	strcat(label_print, wifi_list[k]);
  	  	}
  	  	indy=0;
	    lv_dropdown_set_options(ui_Dropdown4, label_print);
	    screen_change=1;
		HAL_TIM_Base_Stop_IT(htim);
		nie_szuka_wifi=1;
		for(int i=0;i<33;i++){
			wifi_list[0][i]='\0';
		}
	}
}

/* interrupt from USART1 after line IDLE detect or buffor full
 * rewrite buffor to transmit MainBuf used for USART2 transfer */

void HAL_UARTEx_RxEventCallback(UART_HandleTypeDef *huart, uint16_t Size)
{
	if (huart->Instance == USART1)
		{
		uint16_t remain = huart1.RxXferCount;
		int i;
		int temp;
		for(i=Size;i>0;i--){
				temp=RxMainBuf_SIZE-remain-i;
				MainBuf[temp]=RxBuf[temp];
			}
		glowa=RxMainBuf_SIZE-remain;
		}
}

/* interrupt from alarm event if device was awake, turn on sensor communication */
void HAL_RTC_AlarmAEventCallback(RTC_HandleTypeDef *hrtc)
{
	AlarmFlag = 1;
}

/* Turn on message receive from SCD41 after demand for data sent */
void HAL_I2C_MasterTxCpltCallback(I2C_HandleTypeDef *hi2c){
	if(one_shot_read==1){
		HAL_I2C_Master_Receive_DMA(I2C_HANDLE, SCD40_ADDRESS, buf_co2, sizeof(buf_co2));
		one_shot_read=0;
	}
	__NOP();
}

/* I2C error handle for debugging */
void HAL_I2C_ErrorCallback(I2C_HandleTypeDef *hi2c){
	__NOP();
}

/* menage revieved measurement data from SCD41 sensor */
void HAL_I2C_MasterRxCpltCallback(I2C_HandleTypeDef *hi2c){
	  co2_raw = (buf_co2[0] << 8) | buf_co2[1];
	  uint16_t T_raw =(buf_co2[3] << 8) | buf_co2[4];
	  uint16_t H_raw = (buf_co2[6] << 8) | buf_co2[7];
	  float T_val = -45+175*(T_raw/65635.0);
	  float H_val = 100*(H_raw/65635.0);
	  measure_tab[Measure_IN].pomiar[0].num=floor(H_val);
	  measure_tab[Measure_IN].pomiar[0].tenths=(uint8_t)(modff(H_val, &H_val)*10);
	  measure_tab[Measure_IN].pomiar[1].num=(T_val);
	  measure_tab[Measure_IN].pomiar[1].tenths=(uint8_t)(modff(T_val, &T_val)*10);
	  measure_tab[Measure_IN].pomiar[2].num=(co2_raw)/100;
	  measure_tab[Measure_IN].pomiar[2].tenths=(co2_raw)%100;
	  sprintf(str_temp_in, "%2u.%1u", measure_tab[Measure_IN].pomiar[0].num, measure_tab[Measure_IN].pomiar[0].tenths);
	  sprintf(str_hum_in, "%2u.%1u", measure_tab[Measure_IN].pomiar[1].num, measure_tab[Measure_IN].pomiar[1].tenths);
	  sprintf(str_CO2, "%4u", co2_raw);
}

/* USER CODE END 4 */

void Error_Handler(void)
{
  __disable_irq();
  while (1)
  {
  }
}
